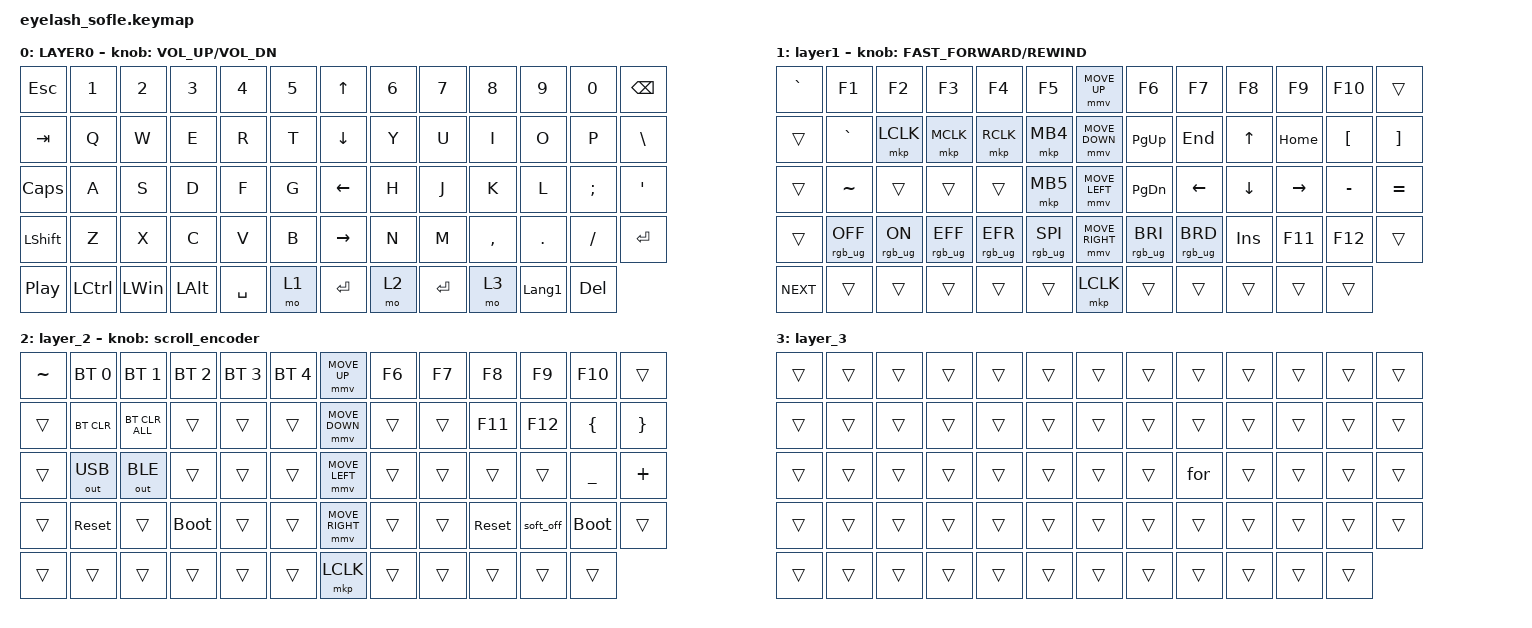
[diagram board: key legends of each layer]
#define ZMK_POINTING_DEFAULT_MOVE_VAL 1200  // 600
#define ZMK_POINTING_DEFAULT_SCRL_VAL 25   // 10

#include <input/processors.dtsi>
#include <zephyr/dt-bindings/input/input-event-codes.h>
#include <behaviors.dtsi>
#include <dt-bindings/zmk/bt.h>
#include <dt-bindings/zmk/keys.h>
#include <dt-bindings/zmk/outputs.h>
#include <dt-bindings/zmk/pointing.h>
#include <dt-bindings/zmk/rgb.h>

&mmv_input_listener { input-processors = <&zip_xy_scaler 2 1>; };

&msc_input_listener { input-processors = <&zip_scroll_scaler 2 1>; };

&msc {
    acceleration-exponent = <1>;      // 0
    time-to-max-speed-ms = <100>;       // 300
    delay-ms = <0>;                   // 0
};

&mmv {
    time-to-max-speed-ms = <500>;
    acceleration-exponent = <1>;
    trigger-period-ms = <16>;
};

/ {
    scroll_encoder: scroll_encoder {
        compatible = "zmk,behavior-sensor-rotate";
        #sensor-binding-cells = <0>;
        bindings = <&msc SCRL_DOWN>, <&msc SCRL_UP>;

        tap-ms = <100>;
    };

    macros {
        for: for {
            compatible = "zmk,behavior-macro";
            #binding-cells = <0>;
            bindings = <&kp F &kp O &kp R &kp LPAR &kp I &kp N &kp T &kp SPACE &kp I &kp SPACE &kp EQUAL &kp SPACE &kp N0 &kp SPACE &kp SEMI &kp SPACE &kp I &kp SPACE &kp LT &kp SPACE &kp N &kp SPACE &kp SEMI &kp SPACE &kp PLUS &kp PLUS &kp I &kp RPAR &kp RET &kp RBKT &kp RET &kp RET &kp RBRC &kp UP_ARROW &kp TAB>;
            label = "FOR";
        };
    };

    behaviors {
    };

    keymap {
        compatible = "zmk,keymap";

        layer0 {
            bindings = <
&kp ESC           &kp N1     &kp N2        &kp N3        &kp N4     &kp N5    &kp UP_ARROW     &kp N6  &kp N7     &kp N8     &kp N9          &kp N0      &kp BACKSPACE
&kp TAB           &kp Q      &kp W         &kp E         &kp R      &kp T     &kp DOWN_ARROW   &kp Y   &kp U      &kp I      &kp O           &kp P       &kp BSLH
&kp CAPS          &kp A      &kp S         &kp D         &kp F      &kp G     &kp LEFT_ARROW   &kp H   &kp J      &kp K      &kp L           &kp SEMI    &kp APOS
&kp LSHFT         &kp Z      &kp X         &kp C         &kp V      &kp B     &kp RIGHT_ARROW  &kp N   &kp M      &kp COMMA  &kp DOT         &kp FSLH    &kp ENTER
&kp C_PLAY_PAUSE  &kp LCTRL  &kp LEFT_WIN  &kp LEFT_ALT  &kp SPACE  &mo 1     &kp ENTER        &mo 2   &kp ENTER  &mo 3      &kp LANGUAGE_1  &kp DELETE
            >;

            sensor-bindings = <&inc_dec_kp C_VOLUME_UP C_VOL_DN>;
            display-name = "LAYER0";
        };

        layer_1 {
            bindings = <
&kp GRAVE   &kp F1           &kp F2          &kp F3           &kp F4           &kp F5             &mmv MOVE_UP     &kp F6           &kp F7           &kp F8      &kp F9     &kp F10           &trans
&trans      &kp GRAVE        &mkp LCLK       &mkp MCLK        &mkp RCLK        &mkp MB4           &mmv MOVE_DOWN   &kp PG_UP        &kp END          &kp UP      &kp HOME   &kp LEFT_BRACKET  &kp RIGHT_BRACKET
&trans      &kp TILDE        &trans          &trans           &trans           &mkp MB5           &mmv MOVE_LEFT   &kp PG_DN        &kp LEFT         &kp DOWN    &kp RIGHT  &kp MINUS         &kp EQUAL
&trans      &rgb_ug RGB_OFF  &rgb_ug RGB_ON  &rgb_ug RGB_EFF  &rgb_ug RGB_EFR  &rgb_ug RGB_SPI    &mmv MOVE_RIGHT  &rgb_ug RGB_BRI  &rgb_ug RGB_BRD  &kp INSERT  &kp F11    &kp F12           &trans
&kp C_NEXT  &trans           &trans          &trans           &trans           &trans             &mkp LCLK        &trans           &trans           &trans      &trans     &trans
            >;

            display-name = "layer1";
            sensor-bindings = <&inc_dec_kp C_FAST_FORWARD C_REWIND>;
        };

        layer_2 {
            bindings = <
&kp TILDE  &bt BT_SEL 0  &bt BT_SEL 1    &bt BT_SEL 2  &bt BT_SEL 3  &bt BT_SEL 4    &mmv MOVE_UP     &kp F6  &kp F7  &kp F8      &kp F9     &kp F10         &trans
&trans     &bt BT_CLR    &bt BT_CLR_ALL  &trans        &trans        &trans          &mmv MOVE_DOWN   &trans  &trans  &kp F11     &kp F12    &kp LEFT_BRACE  &kp RIGHT_BRACE
&trans     &out OUT_USB  &out OUT_BLE    &trans        &trans        &trans          &mmv MOVE_LEFT   &trans  &trans  &trans      &trans     &kp UNDERSCORE  &kp PLUS
&trans     &sys_reset    &trans          &bootloader   &trans        &trans          &mmv MOVE_RIGHT  &trans  &trans  &sys_reset  &soft_off  &bootloader     &trans
&trans     &trans        &trans          &trans        &trans        &trans          &mkp LCLK        &trans  &trans  &trans      &trans     &trans
            >;

            sensor-bindings = <&scroll_encoder>;
        };

        layer_3 {
            bindings = <
&trans  &trans  &trans  &trans  &trans  &trans    &trans  &trans  &trans  &trans  &trans  &trans  &trans
&trans  &trans  &trans  &trans  &trans  &trans    &trans  &trans  &trans  &trans  &trans  &trans  &trans
&trans  &trans  &trans  &trans  &trans  &trans    &trans  &trans  &for    &trans  &trans  &trans  &trans
&trans  &trans  &trans  &trans  &trans  &trans    &trans  &trans  &trans  &trans  &trans  &trans  &trans
&trans  &trans  &trans  &trans  &trans  &trans    &trans  &trans  &trans  &trans  &trans  &trans
            >;
        };
    };
};
